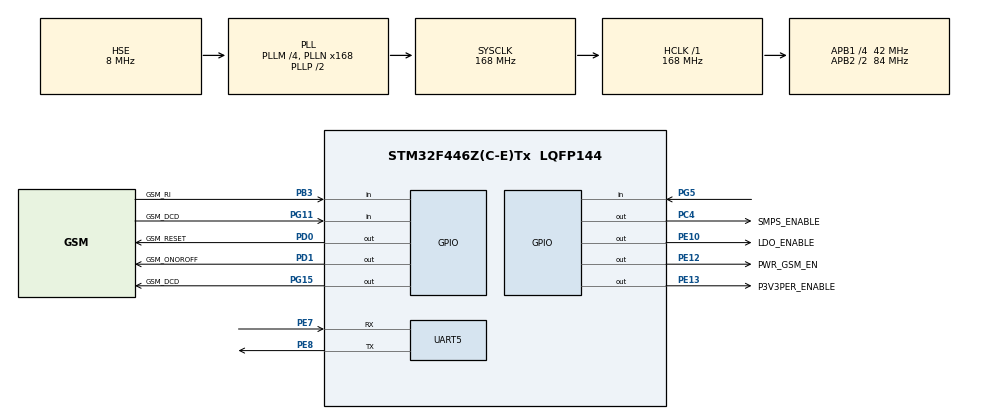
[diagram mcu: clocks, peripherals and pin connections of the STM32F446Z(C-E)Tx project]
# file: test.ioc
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Mcu.Family=STM32F4
Mcu.Name=STM32F446Z(C-E)Tx
Mcu.Package=LQFP144
NVIC.PriorityGroup=NVIC_PRIORITYGROUP_4
NVIC.UART5_IRQn=true\:0\:0\:true\:false\:true\:true\:true
PA13.Mode=Serial_Wire
PA13.Signal=SYS_JTMS-SWDIO
PA14.Mode=Serial_Wire
PA14.Signal=SYS_JTCK-SWCLK
PB3.GPIO_Label=GSM_RI
PB3.Signal=GPIO_Input
PC14-OSC32_IN.Mode=LSE-External-Oscillator
PC14-OSC32_IN.Signal=RCC_OSC32_IN
PC15-OSC32_OUT.Mode=LSE-External-Oscillator
PC15-OSC32_OUT.Signal=RCC_OSC32_OUT
PC4.GPIO_Label=SMPS_ENABLE
PC4.Signal=GPIO_Output
PD0.GPIO_Label=GSM_RESET
PD0.Signal=GPIO_Output
PD1.GPIO_Label=GSM_ONOROFF
PD1.Signal=GPIO_Output
PE10.GPIO_Label=LDO_ENABLE
PE10.Signal=GPIO_Output
PE12.GPIO_Label=PWR_GSM_EN 
PE12.Signal=GPIO_Output
PE13.GPIO_Label=P3V3PER_ENABLE
PE13.Signal=GPIO_Output
PE7.Mode=Asynchronous
PE7.Signal=UART5_RX
PE8.Mode=Asynchronous
PE8.Signal=UART5_TX
PG11.GPIO_Label=GSM_DCD
PG11.Signal=GPIO_Input
PG15.GPIO_Label=GSM_DCD
PG15.Signal=GPIO_Output
PG5.GPIO_PuPd=GPIO_PULLUP
PG5.Signal=GPIO_Input
PH0-OSC_IN.Mode=HSE-External-Oscillator
PH0-OSC_IN.Signal=RCC_OSC_IN
PH1-OSC_OUT.Mode=HSE-External-Oscillator
PH1-OSC_OUT.Signal=RCC_OSC_OUT
ProjectManager.HeapSize=0x3000
ProjectManager.StackSize=0x3000
ProjectManager.TargetToolchain=MDK-ARM V5
RCC.AHBFreq_Value=168000000
RCC.APB1CLKDivider=RCC_HCLK_DIV4
RCC.APB1Freq_Value=42000000
RCC.APB1TimFreq_Value=84000000
RCC.APB2CLKDivider=RCC_HCLK_DIV2
RCC.APB2Freq_Value=84000000
RCC.APB2TimFreq_Value=168000000
RCC.CortexFreq_Value=168000000
RCC.HCLKFreq_Value=168000000
RCC.HSE_VALUE=8000000
RCC.PLLM=4
RCC.PLLN=168
RCC.PLLQ=7
RCC.PLLSourceVirtual=RCC_PLLSOURCE_HSE
RCC.RCC_RTC_Clock_SourceVirtual=RCC_RTCCLKSOURCE_LSE
RCC.RCC_RTC_Clock_Source_FROM_HSE=RCC_RTCCLKSOURCE_HSE_DIV31
RCC.SYSCLKFreq_VALUE=168000000
RCC.SYSCLKSource=RCC_SYSCLKSOURCE_PLLCLK
RCC.USBFreq_Value=48000000
RCC.VCOOutputFreq_Value=336000000
UART5.VirtualMode=Asynchronous
VP_RTC_VS_RTC_Activate.Mode=RTC_Enabled
board=custom

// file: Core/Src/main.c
/* USER CODE BEGIN Header */
/**
  ******************************************************************************
  * @file           : main.c
  * @brief          : Main program body
  ******************************************************************************
  * @attention
  *
  * <h2><center>&copy; Copyright (c) 2020 STMicroelectronics.
  * All rights reserved.</center></h2>
  *
  * This software component is licensed by ST under BSD 3-Clause license,
  * the "License"; You may not use this file except in compliance with the
  * License. You may obtain a copy of the License at:
  *                        opensource.org/licenses/BSD-3-Clause
  *
  ******************************************************************************
  */
/* USER CODE END Header */
#include "main.h"
#include "rtc.h"
#include "usart.h"
#include "gpio.h"

/* USER CODE BEGIN Includes */
#include "stdbool.h"
#include "machine.h"
#include "platform_specific.h"

/* USER CODE END Includes */

/* USER CODE BEGIN PV */
bool gsm_reinit_flag;
bool reconnect;
struct command_machine command_machine_t;
extern struct command_window main_all_command_list_t;
int status = 0;
/* USER CODE END PV */

void SystemClock_Config(void);

/* USER CODE BEGIN 0 */
static void GSM_TurnON(void)
{
	GSM_pwrkey_off;
	GSM_PWR_enable;
	HAL_Delay(100);
	GSM_pwrkey_on;
	HAL_Delay(100);
	GSM_pwrkey_off;
}

static void GSM_Init(void)
{
	GSM_Rst_enable;
	HAL_Delay(200);
	GSM_PWR_disable;
	HAL_Delay(2000);
	GSM_PWR_enable;
	GSM_Rst_disable;
	GSM_TurnON();
}

static bool uart_tx_platform_specific(uint8_t* data, uint16_t size)
{
	HAL_UART_Transmit(&huart5, data, size, 2000);

  return true;
}

char get_buffer_for_send[600];

void HAL_UART_RxCpltCallback (UART_HandleTypeDef * huart)
{
	if (huart == &huart5)
	{
		HAL_UART_Receive_IT(&huart5 ,(uint8_t *)&gsm_uart.data, 1);

		gsm_uart.buffer[gsm_uart.buffer_index++] = gsm_uart.data;

		if (gsm_uart.buffer_index >= 6)
		{
			//if (gsm_uart.buffer[0] == '\r' && gsm_uart.buffer[1] == '\n' && gsm_uart.buffer[gsm_uart.buffer_index - 2] == '\r'
			//	&& gsm_uart.buffer[gsm_uart.buffer_index - 1] == '\n')
			{
				if (strstr(gsm_uart.buffer, "OK\r\n") || strstr(gsm_uart.buffer, "CONNECT\r\n"))
				{
					//gsm_uart.new_line_flag = true;
				}
			}
		}

		if (gsm_uart.buffer_index >= MAX_NUM_OF_BUFFER)
		{
			gsm_uart.buffer_index = 0;
		}
	}
}
/* USER CODE END 0 */

int main(void)
{

  /* MCU Configuration--------------------------------------------------------*/

  /* Reset of all peripherals, Initializes the Flash interface and the Systick. */
  HAL_Init();

  /* Configure the system clock */
  SystemClock_Config();

  /* Initialize all configured peripherals */
  MX_GPIO_Init();
  MX_UART5_Init();
  MX_RTC_Init();
  /* USER CODE BEGIN 2 */

	HAL_UART_Receive_IT(&huart5, (uint8_t *)&gsm_uart.data, 1);

	SMPS_Enable;
	LDO_Enable;
	PER3V3_Enable;

	GSM_Init();

	init_all_command_window();

	command_machine_t.command_index = 0;
	command_machine_t.current_command_window = &main_all_command_list_t;
	command_machine_t.uart_tx_cb = &uart_tx_platform_specific;
	command_machine_t.is_state_transition_available = 0;
	command_machine_t.timer = 0;
	command_machine_t.timer_cnt = 0;
	command_machine_t.command_window_index = 0;

	machine_start(&command_machine_t);
  /* USER CODE END 2 */

  /* Infinite loop */
  while (1)
  {
		machine_loop(&command_machine_t);

		if (get_command_window_status(&command_machine_t, "INIT"))
		{
			machine_trans(&command_machine_t, "PUT");
		}

		else if (get_command_window_status(&command_machine_t, "PUT"))
		{
			machine_trans(&command_machine_t, "SEND");
		}

  }
}

void SystemClock_Config(void)
{
  RCC_OscInitTypeDef RCC_OscInitStruct = {0};
  RCC_ClkInitTypeDef RCC_ClkInitStruct = {0};
  RCC_PeriphCLKInitTypeDef PeriphClkInitStruct = {0};

  /** Configure the main internal regulator output voltage
  */
  __HAL_RCC_PWR_CLK_ENABLE();
  __HAL_PWR_VOLTAGESCALING_CONFIG(PWR_REGULATOR_VOLTAGE_SCALE1);
  /** Initializes the RCC Oscillators according to the specified parameters
  * in the RCC_OscInitTypeDef structure.
  */
  RCC_OscInitStruct.OscillatorType = RCC_OSCILLATORTYPE_HSE|RCC_OSCILLATORTYPE_LSE;
  RCC_OscInitStruct.HSEState = RCC_HSE_ON;
  RCC_OscInitStruct.LSEState = RCC_LSE_ON;
  RCC_OscInitStruct.PLL.PLLState = RCC_PLL_ON;
  RCC_OscInitStruct.PLL.PLLSource = RCC_PLLSOURCE_HSE;
  RCC_OscInitStruct.PLL.PLLM = 4;
  RCC_OscInitStruct.PLL.PLLN = 168;
  RCC_OscInitStruct.PLL.PLLP = RCC_PLLP_DIV2;
  RCC_OscInitStruct.PLL.PLLQ = 7;
  RCC_OscInitStruct.PLL.PLLR = 2;
  if (HAL_RCC_OscConfig(&RCC_OscInitStruct) != HAL_OK)
  {
    Error_Handler();
  }
  /** Initializes the CPU, AHB and APB buses clocks
  */
  RCC_ClkInitStruct.ClockType = RCC_CLOCKTYPE_HCLK|RCC_CLOCKTYPE_SYSCLK
                              |RCC_CLOCKTYPE_PCLK1|RCC_CLOCKTYPE_PCLK2;
  RCC_ClkInitStruct.SYSCLKSource = RCC_SYSCLKSOURCE_PLLCLK;
  RCC_ClkInitStruct.AHBCLKDivider = RCC_SYSCLK_DIV1;
  RCC_ClkInitStruct.APB1CLKDivider = RCC_HCLK_DIV4;
  RCC_ClkInitStruct.APB2CLKDivider = RCC_HCLK_DIV2;

  if (HAL_RCC_ClockConfig(&RCC_ClkInitStruct, FLASH_LATENCY_5) != HAL_OK)
  {
    Error_Handler();
  }
  PeriphClkInitStruct.PeriphClockSelection = RCC_PERIPHCLK_RTC;
  PeriphClkInitStruct.RTCClockSelection = RCC_RTCCLKSOURCE_LSE;
  if (HAL_RCCEx_PeriphCLKConfig(&PeriphClkInitStruct) != HAL_OK)
  {
    Error_Handler();
  }
}

void Error_Handler(void)
{
}

/************************ (C) COPYRIGHT STMicroelectronics *****END OF FILE****/
